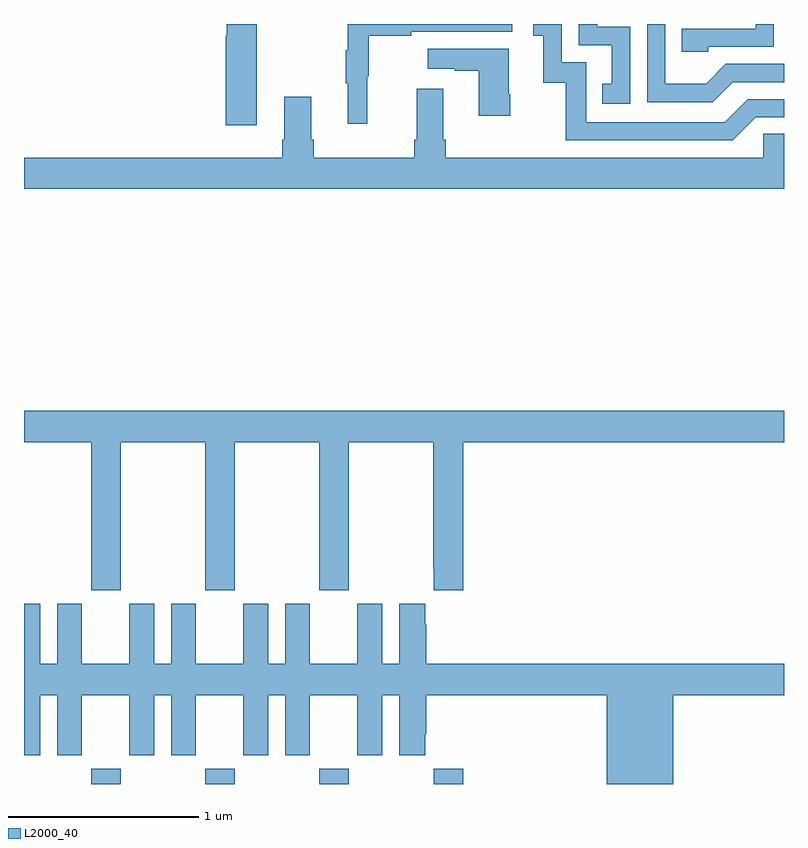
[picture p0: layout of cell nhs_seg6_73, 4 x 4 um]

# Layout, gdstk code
import gdstk
lib = gdstk.Library(unit=1e-6, precision=1e-09)
def R(c, l, rs):  # rectangles x0, y0, x1, y1
    for r in rs: c.add(gdstk.rectangle(r[:2], r[2:], *l))
def A(c, l, x, y, w, h, nx, ny, dx, dy):  # array of equal rectangles
    R(c, l, [(x+i*dx, y+j*dy, x+i*dx+w, y+j*dy+h) for i in range(nx) for j in range(ny)])
def P(c, l, *ps):  # polygons
    for p in ps: c.add(gdstk.Polygon(p, *l))
L2000_40 = (2000, 40)

nhs_seg6_73 = lib.new_cell('nhs_seg6_73')
A(nhs_seg6_73, L2000_40, 113.353, 981.5, 0.155, 0.08, 3, 1, 0.6, 0)
R(nhs_seg6_73, L2000_40, [(115.157,981.5,115.313,981.58)])
P(nhs_seg6_73, L2000_40, [(116.19,985.485),(116.016,985.485),(116.016,985.5),(115.92,985.5),(115.92,985.389),(116.093,985.389),(116.093,985.185),(116.044,985.185),(116.044,985.08),(116.19,985.08)],
  [(114.806,985.224),(114.814,985.224),(114.814,985.438),(115.037,985.438),(115.037,985.458),(115.57,985.458),(115.57,985.5),(114.704,985.5),(114.704,985.361),(114.693,985.361),(114.693,985.187),(114.704,985.187),(114.704,984.975),(114.806,984.975)],
  [(114.226,985.5),(114.068,985.5),(114.068,985.437),(114.062,985.437),(114.062,984.966),(114.226,984.966)],
  [(116.731,985.194),(117,985.194),(117,985.29),(116.694,985.29),(116.59,985.186),(116.376,985.186),(116.376,985.5),(116.28,985.5),(116.28,985.089),(116.626,985.089)],
  [(116.601,985.38),(116.946,985.38),(116.946,985.5),(116.85,985.5),(116.85,985.476),(116.461,985.476),(116.461,985.353),(116.601,985.353)],
  [(116.85,985.008),(117,985.008),(117,985.104),(116.808,985.104),(116.688,984.984),(115.959,984.984),(115.959,985.299),(115.83,985.299),(115.83,985.5),(115.68,985.5),(115.68,985.437),(115.733,985.437),(115.733,985.191),(115.851,985.191),(115.851,984.888),(116.73,984.888)],
  [(115.56,985.129),(115.552,985.129),(115.552,985.369),(115.125,985.369),(115.125,985.265),(115.268,985.265),(115.268,985.255),(115.394,985.255),(115.394,985.017),(115.56,985.017)],
  [(117,984.923),(116.892,984.923),(116.892,984.796),(115.22,984.796),(115.22,984.892),(115.207,984.892),(115.207,985.159),(115.067,985.159),(115.067,984.892),(115.055,984.892),(115.055,984.796),(114.524,984.796),(114.524,984.892),(114.511,984.892),(114.511,985.117),(114.371,985.117),(114.371,984.892),(114.359,984.892),(114.359,984.796),(113,984.796),(113,984.632),(117,984.632)],
  [(113.508,983.3),(113.953,983.3),(113.953,982.521),(114.108,982.521),(114.108,983.3),(114.553,983.3),(114.553,982.521),(114.708,982.521),(114.708,983.3),(115.153,983.3),(115.153,982.633),(115.157,982.633),(115.157,982.521),(115.313,982.521),(115.313,983.3),(117,983.3),(117,983.464),(113,983.464),(113,983.3),(113.353,983.3),(113.353,982.521),(113.508,982.521)],
  [(116.416,981.968),(117,981.968),(117,982.132),(115.118,982.132),(115.118,982.337),(115.111,982.337),(115.111,982.45),(114.974,982.45),(114.974,982.132),(114.886,982.132),(114.886,982.45),(114.755,982.45),(114.755,982.132),(114.505,982.132),(114.505,982.45),(114.374,982.45),(114.374,982.132),(114.286,982.132),(114.286,982.45),(114.155,982.45),(114.155,982.132),(113.905,982.132),(113.905,982.45),(113.774,982.45),(113.774,982.132),(113.686,982.132),(113.686,982.45),(113.555,982.45),(113.555,982.132),(113.305,982.132),(113.305,982.45),(113.174,982.45),(113.174,982.132),(113.086,982.132),(113.086,982.45),(113,982.45),(113,981.651),(113.086,981.651),(113.086,981.968),(113.174,981.968),(113.174,981.651),(113.305,981.651),(113.305,981.968),(113.555,981.968),(113.555,981.651),(113.686,981.651),(113.686,981.968),(113.774,981.968),(113.774,981.651),(113.905,981.651),(113.905,981.968),(114.155,981.968),(114.155,981.651),(114.286,981.651),(114.286,981.968),(114.374,981.968),(114.374,981.651),(114.505,981.651),(114.505,981.968),(114.755,981.968),(114.755,981.651),(114.886,981.651),(114.886,981.968),(114.974,981.968),(114.974,981.651),(115.111,981.651),(115.111,981.763),(115.118,981.763),(115.118,981.968),(116.066,981.968),(116.066,981.5),(116.416,981.5)])

lib.write_gds('nhs_seg6_73.gds')
